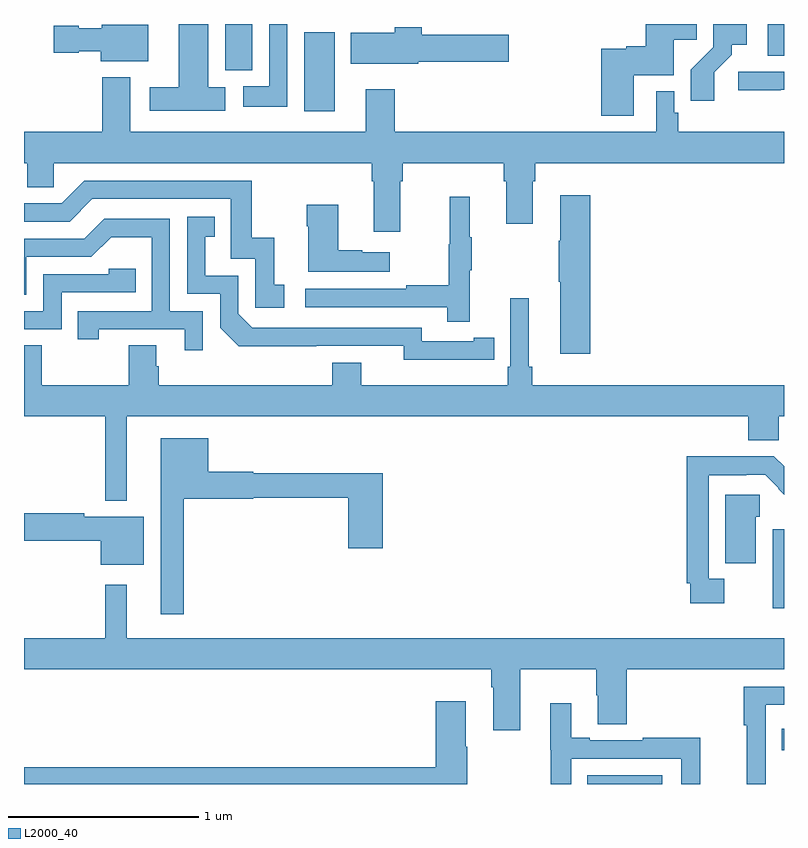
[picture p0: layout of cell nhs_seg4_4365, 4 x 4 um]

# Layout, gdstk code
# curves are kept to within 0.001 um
import gdstk
lib = gdstk.Library(unit=1e-6, precision=1e-09)
def R(c, l, rs):  # rectangles x0, y0, x1, y1
    for r in rs: c.add(gdstk.rectangle(r[:2], r[2:], *l))
def P(c, l, *ps):  # polygons
    for p in ps: c.add(gdstk.Polygon(p, *l))
L2000_40 = (2000, 40)

nhs_seg4_4365 = lib.new_cell('nhs_seg4_4365')
R(nhs_seg4_4365, L2000_40, [(347.965,778.9,348.358,778.945), (348.988,779.078,349,779.191), (348.941,779.826,349,780.241), (346.475,782.442,346.636,782.857), (346.058,782.657,346.201,782.9), (348.914,782.734,349,782.9)])
P(nhs_seg4_4365, L2000_40, [(346.06,782.566),(345.97,782.566),(345.97,782.9),(345.815,782.9),(345.815,782.566),(345.663,782.566),(345.663,782.444),(346.06,782.444)],
  [(348.208,782.63),(348.421,782.63),(348.421,782.818),(348.542,782.818),(348.542,782.9),(348.272,782.9),(348.272,782.783),(348.171,782.783),(348.171,782.77),(348.038,782.77),(348.038,782.418),(348.208,782.418)],
  [(346.386,782.9),(346.29,782.9),(346.29,782.572),(346.155,782.572),(346.155,782.465),(346.386,782.465)],
  [(348.634,782.647),(348.724,782.737),(348.724,782.792),(348.805,782.792),(348.805,782.9),(348.627,782.9),(348.627,782.777),(348.508,782.658),(348.508,782.496),(348.634,782.496)],
  [(345.655,782.896),(345.408,782.896),(345.408,782.878),(345.288,782.878),(345.288,782.891),(345.156,782.891),(345.156,782.749),(345.288,782.749),(345.288,782.756),(345.404,782.756),(345.404,782.705),(345.655,782.705)],
  [(347.076,782.701),(347.551,782.701),(347.551,782.843),(347.093,782.843),(347.093,782.884),(346.951,782.884),(346.951,782.854),(346.721,782.854),(346.721,782.69),(347.076,782.69)],
  [(348.983,782.553),(349,782.553),(349,782.649),(348.759,782.649),(348.759,782.551),(348.983,782.551)],
  [(348.327,782.545),(348.327,782.332),(346.952,782.332),(346.952,782.557),(346.799,782.557),(346.799,782.332),(345.559,782.332),(345.559,782.62),(345.412,782.62),(345.412,782.332),(345,782.332),(345,782.168),(345.017,782.168),(345.017,782.041),(345.156,782.041),(345.156,782.168),(346.829,782.168),(346.829,782.072),(346.841,782.072),(346.841,781.806),(346.981,781.806),(346.981,782.072),(346.994,782.072),(346.994,782.168),(347.525,782.168),(347.525,782.072),(347.537,782.072),(347.537,781.848),(347.677,781.848),(347.677,782.072),(347.69,782.072),(347.69,782.168),(349,782.168),(349,782.332),(348.443,782.332),(348.443,782.433),(348.423,782.433),(348.423,782.545)],
  [(346.369,781.527),(346.316,781.527),(346.316,781.774),(346.198,781.774),(346.198,782.076),(345.318,782.076),(345.198,781.956),(345,781.956),(345,781.86),(345.24,781.86),(345.36,781.98),(346.089,781.98),(346.089,781.665),(346.218,781.665),(346.218,781.407),(346.369,781.407)],
  [(347.981,781.999),(347.822,781.999),(347.822,781.76),(347.815,781.76),(347.815,781.543),(347.822,781.543),(347.822,781.164),(347.981,781.164)],
  [(347.345,781.603),(347.356,781.603),(347.356,781.777),(347.345,781.777),(347.345,781.99),(347.242,781.99),(347.242,781.74),(347.235,781.74),(347.235,781.526),(347.011,781.526),(347.011,781.506),(346.479,781.506),(346.479,781.41),(347.227,781.41),(347.227,781.332),(347.345,781.332)],
  [(346.924,781.699),(346.781,781.699),(346.781,781.709),(346.654,781.709),(346.654,781.948),(346.489,781.948),(346.489,781.835),(346.496,781.835),(346.496,781.595),(346.924,781.595)],
  [(347.366,781.134),(347.474,781.134),(347.474,781.25),(347.366,781.25),(347.366,781.23),(347.094,781.23),(347.094,781.302),(346.2,781.302),(346.128,781.374),(346.128,781.575),(345.955,781.575),(345.955,781.779),(346.004,781.779),(346.004,781.885),(345.858,781.885),(345.858,781.479),(346.032,781.479),(346.032,781.302),(346.13,781.205),(346.998,781.206),(346.998,781.133)],
  [(345.942,781.389),(345.768,781.389),(345.768,781.875),(345.422,781.875),(345.317,781.77),(345,781.77),(345,781.476),(345.012,781.476),(345.012,781.674),(345.354,781.674),(345.458,781.778),(345.672,781.778),(345.672,781.389),(345.283,781.389),(345.283,781.242),(345.394,781.242),(345.394,781.293),(345.845,781.293),(345.845,781.182),(345.942,781.182)],
  [(345.198,781.488),(345.587,781.488),(345.587,781.611),(345.447,781.611),(345.447,781.584),(345.102,781.584),(345.102,781.389),(345,781.389),(345,781.293),(345.198,781.293)],
  [(345.093,781.208),(345,781.208),(345,780.836),(345.427,780.836),(345.427,780.392),(345.541,780.392),(345.541,780.836),(348.812,780.836),(348.812,780.71),(348.973,780.71),(348.973,780.836),(349,780.836),(349,781),(347.675,781),(347.675,781.096),(347.656,781.096),(347.656,781.456),(347.559,781.456),(347.559,781.096),(347.546,781.096),(347.546,781),(346.774,781),(346.774,781.117),(346.622,781.117),(346.622,781),(345.71,781),(345.71,781.098),(345.697,781.098),(345.697,781.208),(345.55,781.208),(345.55,781),(345.093,781)],
  [(345.841,780.401),(346.206,780.401),(346.206,780.406),(346.706,780.406),(346.706,780.141),(346.889,780.141),(346.889,780.535),(346.206,780.535),(346.206,780.543),(345.97,780.543),(345.97,780.721),(345.719,780.721),(345.719,779.793),(345.841,779.793)],
  [(348.686,779.98),(348.603,779.98),(348.603,780.524),(348.8,780.524),(348.8,780.528),(348.9,780.528),(348.972,780.456),(348.969,780.453),(349,780.422),(349,780.572),(348.947,780.625),(348.487,780.625),(348.487,779.956),(348.507,779.956),(348.507,779.852),(348.686,779.852)],
  [(348.85,780.306),(348.873,780.306),(348.873,780.423),(348.692,780.423),(348.692,780.061),(348.85,780.061)],
  [(345.631,780.307),(345.318,780.307),(345.318,780.326),(345,780.326),(345,780.179),(345.404,780.179),(345.404,780.053),(345.631,780.053)],
  [(347.611,779.504),(348.013,779.504),(348.013,779.366),(348.02,779.366),(348.02,779.215),(348.173,779.215),(348.173,779.504),(349,779.504),(349,779.668),(345.541,779.668),(345.541,779.95),(345.427,779.95),(345.427,779.668),(345,779.668),(345,779.504),(347.459,779.504),(347.459,779.408),(347.471,779.408),(347.471,779.184),(347.611,779.184)],
  [(348.904,778.988),(348.903,778.988),(348.903,779.316),(349,779.316),(349,779.412),(348.787,779.412),(348.787,779.209),(348.805,779.209),(348.805,778.9),(348.904,778.9)],
  [(347.334,779.096),(347.326,779.096),(347.326,779.335),(347.168,779.335),(347.168,778.988),(345,778.988),(345,778.9),(347.334,778.9)],
  [(347.88,779.034),(348.459,779.034),(348.459,778.9),(348.558,778.9),(348.558,779.143),(348.256,779.143),(348.256,779.13),(347.977,779.13),(347.977,779.143),(347.881,779.143),(347.881,779.326),(347.771,779.326),(347.771,779.081),(347.772,779.081),(347.772,778.9),(347.88,778.9)])

lib.write_gds('nhs_seg4_4365.gds')
